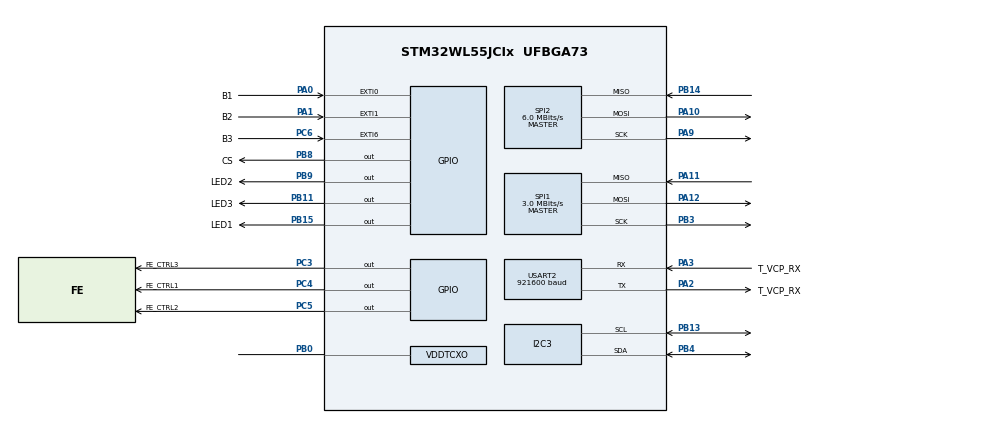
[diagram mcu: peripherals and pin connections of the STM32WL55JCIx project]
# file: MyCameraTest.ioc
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Dma.Request0=SPI2_RX
Dma.Request1=SPI2_TX
Dma.SPI2_RX.0.Channel_PRIV_NPRIV=DMA_CHANNEL_NPRIV_DISABLE
Dma.SPI2_RX.0.Direction=DMA_PERIPH_TO_MEMORY
Dma.SPI2_RX.0.EventEnable=DISABLE
Dma.SPI2_RX.0.Instance=DMA1_Channel1
Dma.SPI2_RX.0.MemDataAlignment=DMA_MDATAALIGN_BYTE
Dma.SPI2_RX.0.MemInc=DMA_MINC_ENABLE
Dma.SPI2_RX.0.Mode=DMA_NORMAL
Dma.SPI2_RX.0.PeriphDataAlignment=DMA_PDATAALIGN_BYTE
Dma.SPI2_RX.0.PeriphInc=DMA_PINC_DISABLE
Dma.SPI2_RX.0.Polarity=HAL_DMAMUX_REQ_GEN_RISING
Dma.SPI2_RX.0.Priority=DMA_PRIORITY_LOW
Dma.SPI2_RX.0.RequestNumber=1
Dma.SPI2_RX.0.SignalID=NONE
Dma.SPI2_RX.0.SyncEnable=DISABLE
Dma.SPI2_RX.0.SyncPolarity=HAL_DMAMUX_SYNC_NO_EVENT
Dma.SPI2_RX.0.SyncRequestNumber=1
Dma.SPI2_RX.0.SyncSignalID=NONE
Dma.SPI2_TX.1.Channel_PRIV_NPRIV=DMA_CHANNEL_NPRIV_DISABLE
Dma.SPI2_TX.1.Direction=DMA_MEMORY_TO_PERIPH
Dma.SPI2_TX.1.EventEnable=DISABLE
Dma.SPI2_TX.1.Instance=DMA1_Channel2
Dma.SPI2_TX.1.MemDataAlignment=DMA_MDATAALIGN_BYTE
Dma.SPI2_TX.1.MemInc=DMA_MINC_ENABLE
Dma.SPI2_TX.1.Mode=DMA_NORMAL
Dma.SPI2_TX.1.PeriphDataAlignment=DMA_PDATAALIGN_BYTE
Dma.SPI2_TX.1.PeriphInc=DMA_PINC_DISABLE
Dma.SPI2_TX.1.Polarity=HAL_DMAMUX_REQ_GEN_RISING
Dma.SPI2_TX.1.Priority=DMA_PRIORITY_LOW
Dma.SPI2_TX.1.RequestNumber=1
Dma.SPI2_TX.1.SignalID=NONE
Dma.SPI2_TX.1.SyncEnable=DISABLE
Dma.SPI2_TX.1.SyncPolarity=HAL_DMAMUX_SYNC_NO_EVENT
Dma.SPI2_TX.1.SyncRequestNumber=1
Dma.SPI2_TX.1.SyncSignalID=NONE
I2C3.Timing=0x20303E5D
Mcu.Family=STM32WL
Mcu.Name=STM32WL55JCIx
Mcu.Package=UFBGA73
NVIC.DMA1_Channel1_IRQn=true\:0\:0\:false\:false\:true\:false\:true\:true
NVIC.DMA1_Channel2_IRQn=true\:0\:0\:false\:false\:true\:false\:true\:true
NVIC.PriorityGroup=NVIC_PRIORITYGROUP_4
OSC_IN.Mode=HSE-TCXO
OSC_IN.Signal=RCC_OSC_IN
PA0.GPIO_Label=B1
PA0.GPIO_ModeDefaultEXTI=GPIO_MODE_IT_FALLING
PA0.GPIO_PuPd=GPIO_PULLUP
PA0.Signal=GPXTI0
PA1.GPIO_Label=B2
PA1.GPIO_ModeDefaultEXTI=GPIO_MODE_IT_FALLING
PA1.GPIO_PuPd=GPIO_PULLUP
PA1.Signal=GPXTI1
PA10.Mode=Full_Duplex_Master
PA10.Signal=SPI2_MOSI
PA11.Mode=Full_Duplex_Master
PA11.Signal=SPI1_MISO
PA12.Mode=Full_Duplex_Master
PA12.Signal=SPI1_MOSI
PA13.Mode=Serial_Wire
PA13.Signal=DEBUG_JTMS-SWDIO
PA14.Mode=Serial_Wire
PA14.Signal=DEBUG_JTCK-SWCLK
PA2.GPIO_Label=T_VCP_RX
PA2.Mode=Asynchronous
PA2.Signal=USART2_TX
PA3.GPIO_Label=T_VCP_RX
PA3.Mode=Asynchronous
PA3.Signal=USART2_RX
PA9.Mode=Full_Duplex_Master
PA9.Signal=SPI2_SCK
PB0-VDD_TCXO.Mode=HSE-TCXO
PB0-VDD_TCXO.Signal=VDDTCXO
PB11.GPIO_Label=LED3
PB11.GPIO_Speed=GPIO_SPEED_FREQ_HIGH
PB11.Signal=GPIO_Output
PB13.Mode=I2C
PB13.Signal=I2C3_SCL
PB14.Mode=Full_Duplex_Master
PB14.Signal=SPI2_MISO
PB15.GPIO_Label=LED1
PB15.GPIO_Speed=GPIO_SPEED_FREQ_HIGH
PB15.Signal=GPIO_Output
PB3.Mode=Full_Duplex_Master
PB3.Signal=SPI1_SCK
PB4.Mode=I2C
PB4.Signal=I2C3_SDA
PB8.GPIO_Label=CS
PB8.Signal=GPIO_Output
PB9.GPIO_FM9=__NULL
PB9.GPIO_Label=LED2
PB9.GPIO_Speed=GPIO_SPEED_FREQ_HIGH
PB9.Signal=GPIO_Output
PC14-OSC32_IN.Mode=LSE-External-Oscillator
PC14-OSC32_IN.Signal=RCC_OSC32_IN
PC15-OSC32_OUT.Mode=LSE-External-Oscillator
PC15-OSC32_OUT.Signal=RCC_OSC32_OUT
PC3.GPIO_Label=FE_CTRL3
PC3.GPIO_Speed=GPIO_SPEED_FREQ_VERY_HIGH
PC3.Signal=GPIO_Output
PC4.GPIO_Label=FE_CTRL1
PC4.GPIO_Speed=GPIO_SPEED_FREQ_VERY_HIGH
PC4.Signal=GPIO_Output
PC5.GPIO_Label=FE_CTRL2
PC5.GPIO_Speed=GPIO_SPEED_FREQ_VERY_HIGH
PC5.Signal=GPIO_Output
PC6.GPIO_Label=B3
PC6.GPIO_ModeDefaultEXTI=GPIO_MODE_IT_FALLING
PC6.GPIO_PuPd=GPIO_PULLUP
PC6.Signal=GPXTI6
ProjectManager.HeapSize=0x200
ProjectManager.StackSize=0x400
ProjectManager.TargetToolchain=STM32CubeIDE
RCC.AHBFreq_Value=48000000
RCC.APB1Freq_Value=48000000
RCC.APB1TimFreq_Value=48000000
RCC.APB2CLKDivider=RCC_HCLK_DIV8
RCC.APB2Freq_Value=6000000
RCC.APB2TimFreq_Value=12000000
RCC.APB3Freq_Value=48000000
RCC.CortexFreq_Value=48000000
RCC.HCLKFreq_Value=48000000
RCC.HSE_VALUE=32000000
RCC.HSI_VALUE=16000000
RCC.I2S2CLockSelection=RCC_I2S2CLKSOURCE_PLL
RCC.LSE_VALUE=32768
RCC.MSIClockRange=RCC_MSIRANGE_11
RCC.PLLN=6
RCC.PLLQ=RCC_PLLQ_DIV8
RCC.PLLSourceVirtual=RCC_PLLSOURCE_HSI
RCC.SYSCLKFreq_VALUE=48000000
RCC.USART2CLockSelection=RCC_USART2CLKSOURCE_SYSCLK
RCC.VCOOutputFreq_Value=96000000
SPI1.BaudRatePrescaler=SPI_BAUDRATEPRESCALER_2
SPI1.CalculateBaudRate=3.0 MBits/s
SPI1.DataSize=SPI_DATASIZE_8BIT
SPI1.Direction=SPI_DIRECTION_2LINES
SPI1.Mode=SPI_MODE_MASTER
SPI1.VirtualType=VM_MASTER
SPI2.BaudRatePrescaler=SPI_BAUDRATEPRESCALER_2
SPI2.CalculateBaudRate=6.0 MBits/s
SPI2.DataSize=SPI_DATASIZE_8BIT
SPI2.Direction=SPI_DIRECTION_2LINES
SPI2.Mode=SPI_MODE_MASTER
SPI2.VirtualType=VM_MASTER
TIM1.Prescaler=11
USART2.BaudRate=921600
USART2.VirtualMode-Asynchronous=VM_ASYNC
VP_TIM1_VS_ClockSourceINT.Mode=Internal
board=NUCLEO-WL55JC2

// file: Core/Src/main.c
/* USER CODE BEGIN Header */
/**
  ******************************************************************************
  * @file           : main.c
  * @brief          : Main program body
  ******************************************************************************
  * @attention
  *
  * Copyright (c) 2023 STMicroelectronics.
  * All rights reserved.
  *
  * This software is licensed under terms that can be found in the LICENSE file
  * in the root directory of this software component.
  * If no LICENSE file comes with this software, it is provided AS-IS.
  *
  ******************************************************************************
  */
/* USER CODE END Header */
#include "main.h"

I2C_HandleTypeDef hi2c3;

SPI_HandleTypeDef hspi1;
SPI_HandleTypeDef hspi2;
DMA_HandleTypeDef hdma_spi2_rx;
DMA_HandleTypeDef hdma_spi2_tx;

TIM_HandleTypeDef htim1;

UART_HandleTypeDef huart2;

void SystemClock_Config(void);
static void MX_GPIO_Init(void);
static void MX_DMA_Init(void);
static void MX_USART2_UART_Init(void);
static void MX_I2C3_Init(void);
static void MX_SPI2_Init(void);
static void MX_TIM1_Init(void);
static void MX_SPI1_Init(void);

int main(void)
{
  /* USER CODE BEGIN 1 */
	uint8_t vid, pid, temp ;
	uint8_t Camera_WorkMode = 0;
	uint8_t start_shoot = 0;
	uint8_t stop = 0;

	//NVIC_Configuration();
	//SystemInit();
	//delay_init();
	//USART1_UART_Init(921600);
	//ArduCAM_LED_init();
	//CS_HIGH();//ArduCAM_CS_init();
	//SPI1_Init();
  /* USER CODE END 1 */

  /* MCU Configuration--------------------------------------------------------*/

  /* Reset of all peripherals, Initializes the Flash interface and the Systick. */
  HAL_Init();

  /* Configure the system clock */
  SystemClock_Config();

  /* Initialize all configured peripherals */
  MX_GPIO_Init();
  MX_DMA_Init();
  MX_USART2_UART_Init();
  MX_I2C3_Init();
  MX_SPI2_Init();
  MX_TIM1_Init();
  MX_SPI1_Init();
  /* USER CODE BEGIN 2 */
  HAL_TIM_Base_Start(&htim1);

  do//ACK CMD SPI OK
  {
	write_reg(ARDUCHIP_TEST1, 0x95);
	temp = read_reg(ARDUCHIP_TEST1);
	HAL_Delay(1000);
  }
  while(temp != 0x55);

	HAL_GPIO_WritePin(CS_GPIO_Port, CS_Pin, GPIO_PIN_SET);
	sccb_bus_init();//I do not know where this goes.

  do//Probs not needed, just for determining that OV2640 is connected
  {
	sensor_addr = 0x60;
	wrSensorReg8_8(0xff, 0x01);
	rdSensorReg8_8(OV2640_CHIPID_HIGH, &vid);
	rdSensorReg8_8(OV2640_CHIPID_LOW, &pid);
  }
  while ((vid != 0x26 ) && (( pid != 0x41 ) || ( pid != 0x42 )));
  sensor_model =  OV2640 ;
  ArduCAM_Init(OV2640);
  OV2640_set_JPEG_size(OV2640_320x240);//Want this one for TFT
  set_format(BMP);
  //ArduCAM_Init(sensor_model);
  wrSensorReg16_8(0x3818,0x81);//Need wr and rd stuff
  wrSensorReg16_8(0x3621,0xa7);
  StartBMPcapture();//This will probs go in while loop. Need BMP capture stuff
  /* USER CODE END 2 */

  /* Infinite loop */
  while (1)
  {

  }
}

void SystemClock_Config(void)
{
  RCC_OscInitTypeDef RCC_OscInitStruct = {0};
  RCC_ClkInitTypeDef RCC_ClkInitStruct = {0};

  /** Configure LSE Drive Capability
  */
  HAL_PWR_EnableBkUpAccess();
  __HAL_RCC_LSEDRIVE_CONFIG(RCC_LSEDRIVE_LOW);

  /** Configure the main internal regulator output voltage
  */
  __HAL_PWR_VOLTAGESCALING_CONFIG(PWR_REGULATOR_VOLTAGE_SCALE1);

  /** Initializes the CPU, AHB and APB buses clocks
  */
  RCC_OscInitStruct.OscillatorType = RCC_OSCILLATORTYPE_HSI|RCC_OSCILLATORTYPE_LSE
                              |RCC_OSCILLATORTYPE_MSI;
  RCC_OscInitStruct.LSEState = RCC_LSE_ON;
  RCC_OscInitStruct.HSIState = RCC_HSI_ON;
  RCC_OscInitStruct.MSIState = RCC_MSI_ON;
  RCC_OscInitStruct.HSICalibrationValue = RCC_HSICALIBRATION_DEFAULT;
  RCC_OscInitStruct.MSICalibrationValue = RCC_MSICALIBRATION_DEFAULT;
  RCC_OscInitStruct.MSIClockRange = RCC_MSIRANGE_11;
  RCC_OscInitStruct.PLL.PLLState = RCC_PLL_ON;
  RCC_OscInitStruct.PLL.PLLSource = RCC_PLLSOURCE_HSI;
  RCC_OscInitStruct.PLL.PLLM = RCC_PLLM_DIV1;
  RCC_OscInitStruct.PLL.PLLN = 6;
  RCC_OscInitStruct.PLL.PLLP = RCC_PLLP_DIV2;
  RCC_OscInitStruct.PLL.PLLR = RCC_PLLR_DIV2;
  RCC_OscInitStruct.PLL.PLLQ = RCC_PLLQ_DIV8;
  if (HAL_RCC_OscConfig(&RCC_OscInitStruct) != HAL_OK)
  {
    Error_Handler();
  }

  /** Configure the SYSCLKSource, HCLK, PCLK1 and PCLK2 clocks dividers
  */
  RCC_ClkInitStruct.ClockType = RCC_CLOCKTYPE_HCLK3|RCC_CLOCKTYPE_HCLK
                              |RCC_CLOCKTYPE_SYSCLK|RCC_CLOCKTYPE_PCLK1
                              |RCC_CLOCKTYPE_PCLK2;
  RCC_ClkInitStruct.SYSCLKSource = RCC_SYSCLKSOURCE_MSI;
  RCC_ClkInitStruct.AHBCLKDivider = RCC_SYSCLK_DIV1;
  RCC_ClkInitStruct.APB1CLKDivider = RCC_HCLK_DIV1;
  RCC_ClkInitStruct.APB2CLKDivider = RCC_HCLK_DIV8;
  RCC_ClkInitStruct.AHBCLK3Divider = RCC_SYSCLK_DIV1;

  if (HAL_RCC_ClockConfig(&RCC_ClkInitStruct, FLASH_LATENCY_2) != HAL_OK)
  {
    Error_Handler();
  }
}

static void MX_I2C3_Init(void)
{

  hi2c3.Instance = I2C3;
  hi2c3.Init.Timing = 0x20303E5D;
  hi2c3.Init.OwnAddress1 = 0;
  hi2c3.Init.AddressingMode = I2C_ADDRESSINGMODE_7BIT;
  hi2c3.Init.DualAddressMode = I2C_DUALADDRESS_DISABLE;
  hi2c3.Init.OwnAddress2 = 0;
  hi2c3.Init.OwnAddress2Masks = I2C_OA2_NOMASK;
  hi2c3.Init.GeneralCallMode = I2C_GENERALCALL_DISABLE;
  hi2c3.Init.NoStretchMode = I2C_NOSTRETCH_DISABLE;
  if (HAL_I2C_Init(&hi2c3) != HAL_OK)
  {
    Error_Handler();
  }

  /** Configure Analogue filter
  */
  if (HAL_I2CEx_ConfigAnalogFilter(&hi2c3, I2C_ANALOGFILTER_ENABLE) != HAL_OK)
  {
    Error_Handler();
  }

  /** Configure Digital filter
  */
  if (HAL_I2CEx_ConfigDigitalFilter(&hi2c3, 0) != HAL_OK)
  {
    Error_Handler();
  }

}

static void MX_SPI1_Init(void)
{

  /* SPI1 parameter configuration*/
  hspi1.Instance = SPI1;
  hspi1.Init.Mode = SPI_MODE_MASTER;
  hspi1.Init.Direction = SPI_DIRECTION_2LINES;
  hspi1.Init.DataSize = SPI_DATASIZE_8BIT;
  hspi1.Init.CLKPolarity = SPI_POLARITY_LOW;
  hspi1.Init.CLKPhase = SPI_PHASE_1EDGE;
  hspi1.Init.NSS = SPI_NSS_SOFT;
  hspi1.Init.BaudRatePrescaler = SPI_BAUDRATEPRESCALER_2;
  hspi1.Init.FirstBit = SPI_FIRSTBIT_MSB;
  hspi1.Init.TIMode = SPI_TIMODE_DISABLE;
  hspi1.Init.CRCCalculation = SPI_CRCCALCULATION_DISABLE;
  hspi1.Init.CRCPolynomial = 7;
  hspi1.Init.CRCLength = SPI_CRC_LENGTH_DATASIZE;
  hspi1.Init.NSSPMode = SPI_NSS_PULSE_ENABLE;
  if (HAL_SPI_Init(&hspi1) != HAL_OK)
  {
    Error_Handler();
  }

}

static void MX_SPI2_Init(void)
{

  /* SPI2 parameter configuration*/
  hspi2.Instance = SPI2;
  hspi2.Init.Mode = SPI_MODE_MASTER;
  hspi2.Init.Direction = SPI_DIRECTION_2LINES;
  hspi2.Init.DataSize = SPI_DATASIZE_8BIT;
  hspi2.Init.CLKPolarity = SPI_POLARITY_LOW;
  hspi2.Init.CLKPhase = SPI_PHASE_1EDGE;
  hspi2.Init.NSS = SPI_NSS_SOFT;
  hspi2.Init.BaudRatePrescaler = SPI_BAUDRATEPRESCALER_2;
  hspi2.Init.FirstBit = SPI_FIRSTBIT_MSB;
  hspi2.Init.TIMode = SPI_TIMODE_DISABLE;
  hspi2.Init.CRCCalculation = SPI_CRCCALCULATION_DISABLE;
  hspi2.Init.CRCPolynomial = 7;
  hspi2.Init.CRCLength = SPI_CRC_LENGTH_DATASIZE;
  hspi2.Init.NSSPMode = SPI_NSS_PULSE_ENABLE;
  if (HAL_SPI_Init(&hspi2) != HAL_OK)
  {
    Error_Handler();
  }

}

static void MX_TIM1_Init(void)
{

  TIM_ClockConfigTypeDef sClockSourceConfig = {0};
  TIM_MasterConfigTypeDef sMasterConfig = {0};

  htim1.Instance = TIM1;
  htim1.Init.Prescaler = 11;
  htim1.Init.CounterMode = TIM_COUNTERMODE_UP;
  htim1.Init.Period = 65535;
  htim1.Init.ClockDivision = TIM_CLOCKDIVISION_DIV1;
  htim1.Init.RepetitionCounter = 0;
  htim1.Init.AutoReloadPreload = TIM_AUTORELOAD_PRELOAD_DISABLE;
  if (HAL_TIM_Base_Init(&htim1) != HAL_OK)
  {
    Error_Handler();
  }
  sClockSourceConfig.ClockSource = TIM_CLOCKSOURCE_INTERNAL;
  if (HAL_TIM_ConfigClockSource(&htim1, &sClockSourceConfig) != HAL_OK)
  {
    Error_Handler();
  }
  sMasterConfig.MasterOutputTrigger = TIM_TRGO_RESET;
  sMasterConfig.MasterOutputTrigger2 = TIM_TRGO2_RESET;
  sMasterConfig.MasterSlaveMode = TIM_MASTERSLAVEMODE_DISABLE;
  if (HAL_TIMEx_MasterConfigSynchronization(&htim1, &sMasterConfig) != HAL_OK)
  {
    Error_Handler();
  }

}

static void MX_USART2_UART_Init(void)
{

  huart2.Instance = USART2;
  huart2.Init.BaudRate = 921600;
  huart2.Init.WordLength = UART_WORDLENGTH_8B;
  huart2.Init.StopBits = UART_STOPBITS_1;
  huart2.Init.Parity = UART_PARITY_NONE;
  huart2.Init.Mode = UART_MODE_TX_RX;
  huart2.Init.HwFlowCtl = UART_HWCONTROL_NONE;
  huart2.Init.OverSampling = UART_OVERSAMPLING_16;
  huart2.Init.OneBitSampling = UART_ONE_BIT_SAMPLE_DISABLE;
  huart2.Init.ClockPrescaler = UART_PRESCALER_DIV1;
  huart2.AdvancedInit.AdvFeatureInit = UART_ADVFEATURE_NO_INIT;
  if (HAL_UART_Init(&huart2) != HAL_OK)
  {
    Error_Handler();
  }
  if (HAL_UARTEx_SetTxFifoThreshold(&huart2, UART_TXFIFO_THRESHOLD_1_8) != HAL_OK)
  {
    Error_Handler();
  }
  if (HAL_UARTEx_SetRxFifoThreshold(&huart2, UART_RXFIFO_THRESHOLD_1_8) != HAL_OK)
  {
    Error_Handler();
  }
  if (HAL_UARTEx_DisableFifoMode(&huart2) != HAL_OK)
  {
    Error_Handler();
  }

}

static void MX_DMA_Init(void)
{

  /* DMA controller clock enable */
  __HAL_RCC_DMAMUX1_CLK_ENABLE();
  __HAL_RCC_DMA1_CLK_ENABLE();

  /* DMA interrupt init */
  /* DMA1_Channel1_IRQn interrupt configuration */
  HAL_NVIC_SetPriority(DMA1_Channel1_IRQn, 0, 0);
  HAL_NVIC_EnableIRQ(DMA1_Channel1_IRQn);
  /* DMA1_Channel2_IRQn interrupt configuration */
  HAL_NVIC_SetPriority(DMA1_Channel2_IRQn, 0, 0);
  HAL_NVIC_EnableIRQ(DMA1_Channel2_IRQn);

}

static void MX_GPIO_Init(void)
{
  GPIO_InitTypeDef GPIO_InitStruct = {0};

  /* GPIO Ports Clock Enable */
  __HAL_RCC_GPIOA_CLK_ENABLE();
  __HAL_RCC_GPIOB_CLK_ENABLE();
  __HAL_RCC_GPIOC_CLK_ENABLE();

  /*Configure GPIO pin Output Level */
  HAL_GPIO_WritePin(GPIOB, LED1_Pin|LED2_Pin|CS_Pin|LED3_Pin, GPIO_PIN_RESET);

  /*Configure GPIO pin Output Level */
  HAL_GPIO_WritePin(GPIOC, FE_CTRL3_Pin|FE_CTRL2_Pin|FE_CTRL1_Pin, GPIO_PIN_RESET);

  /*Configure GPIO pins : LED1_Pin LED2_Pin LED3_Pin */
  GPIO_InitStruct.Pin = LED1_Pin|LED2_Pin|LED3_Pin;
  GPIO_InitStruct.Mode = GPIO_MODE_OUTPUT_PP;
  GPIO_InitStruct.Pull = GPIO_NOPULL;
  GPIO_InitStruct.Speed = GPIO_SPEED_FREQ_HIGH;
  HAL_GPIO_Init(GPIOB, &GPIO_InitStruct);

  /*Configure GPIO pin : CS_Pin */
  GPIO_InitStruct.Pin = CS_Pin;
  GPIO_InitStruct.Mode = GPIO_MODE_OUTPUT_PP;
  GPIO_InitStruct.Pull = GPIO_NOPULL;
  GPIO_InitStruct.Speed = GPIO_SPEED_FREQ_LOW;
  HAL_GPIO_Init(CS_GPIO_Port, &GPIO_InitStruct);

  /*Configure GPIO pins : FE_CTRL3_Pin FE_CTRL2_Pin FE_CTRL1_Pin */
  GPIO_InitStruct.Pin = FE_CTRL3_Pin|FE_CTRL2_Pin|FE_CTRL1_Pin;
  GPIO_InitStruct.Mode = GPIO_MODE_OUTPUT_PP;
  GPIO_InitStruct.Pull = GPIO_NOPULL;
  GPIO_InitStruct.Speed = GPIO_SPEED_FREQ_VERY_HIGH;
  HAL_GPIO_Init(GPIOC, &GPIO_InitStruct);

  /*Configure GPIO pins : B1_Pin B2_Pin */
  GPIO_InitStruct.Pin = B1_Pin|B2_Pin;
  GPIO_InitStruct.Mode = GPIO_MODE_IT_FALLING;
  GPIO_InitStruct.Pull = GPIO_PULLUP;
  HAL_GPIO_Init(GPIOA, &GPIO_InitStruct);

  /*Configure GPIO pin : B3_Pin */
  GPIO_InitStruct.Pin = B3_Pin;
  GPIO_InitStruct.Mode = GPIO_MODE_IT_FALLING;
  GPIO_InitStruct.Pull = GPIO_PULLUP;
  HAL_GPIO_Init(B3_GPIO_Port, &GPIO_InitStruct);

}

void Error_Handler(void)
{
  __disable_irq();
  while (1)
  {
  }
}
